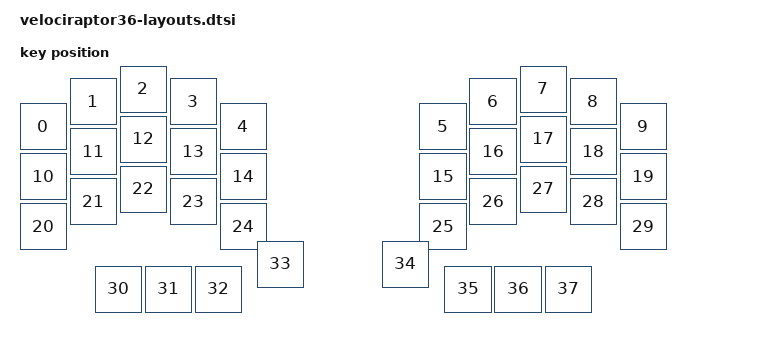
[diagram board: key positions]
#include <physical_layouts.dtsi>

/ {
    velociraptor36_layout: velociraptor36_layout {
        compatible = "zmk,physical-layout";
        display-name = "Default";
        transform = <&default_transform>;

        /* Key positions match config/velociraptor36.keymap binding order (from QMK layout). */
        keys  //                     w   h    x    y     rot    rx    ry
            = <&key_physical_attrs 100 100    0   75       0     0     0>
            , <&key_physical_attrs 100 100  100   25       0     0     0>
            , <&key_physical_attrs 100 100  200    0       0     0     0>
            , <&key_physical_attrs 100 100  300   25       0     0     0>
            , <&key_physical_attrs 100 100  400   75       0     0     0>
            , <&key_physical_attrs 100 100  800   75       0     0     0>
            , <&key_physical_attrs 100 100  900   25       0     0     0>
            , <&key_physical_attrs 100 100 1000    0       0     0     0>
            , <&key_physical_attrs 100 100 1100   25       0     0     0>
            , <&key_physical_attrs 100 100 1200   75       0     0     0>
            , <&key_physical_attrs 100 100    0  175       0     0     0>
            , <&key_physical_attrs 100 100  100  125       0     0     0>
            , <&key_physical_attrs 100 100  200  100       0     0     0>
            , <&key_physical_attrs 100 100  300  125       0     0     0>
            , <&key_physical_attrs 100 100  400  175       0     0     0>
            , <&key_physical_attrs 100 100  800  175       0     0     0>
            , <&key_physical_attrs 100 100  900  125       0     0     0>
            , <&key_physical_attrs 100 100 1000  100       0     0     0>
            , <&key_physical_attrs 100 100 1100  125       0     0     0>
            , <&key_physical_attrs 100 100 1200  175       0     0     0>
            , <&key_physical_attrs 100 100    0  275       0     0     0>
            , <&key_physical_attrs 100 100  100  225       0     0     0>
            , <&key_physical_attrs 100 100  200  200       0     0     0>
            , <&key_physical_attrs 100 100  300  225       0     0     0>
            , <&key_physical_attrs 100 100  400  275       0     0     0>
            , <&key_physical_attrs 100 100  800  275       0     0     0>
            , <&key_physical_attrs 100 100  900  225       0     0     0>
            , <&key_physical_attrs 100 100 1000  200       0     0     0>
            , <&key_physical_attrs 100 100 1100  225       0     0     0>
            , <&key_physical_attrs 100 100 1200  275       0     0     0>
            , <&key_physical_attrs 100 100  150  400       0     0     0>
            , <&key_physical_attrs 100 100  250  400       0     0     0>
            , <&key_physical_attrs 100 100  350  400       0     0     0>
            , <&key_physical_attrs 100 100  475  350       0     0     0>
            , <&key_physical_attrs 100 100  725  350       0     0     0>
            , <&key_physical_attrs 100 100  850  400       0     0     0>
            , <&key_physical_attrs 100 100  950  400       0     0     0>
            , <&key_physical_attrs 100 100 1050  400       0     0     0>
            ;
    };
};
